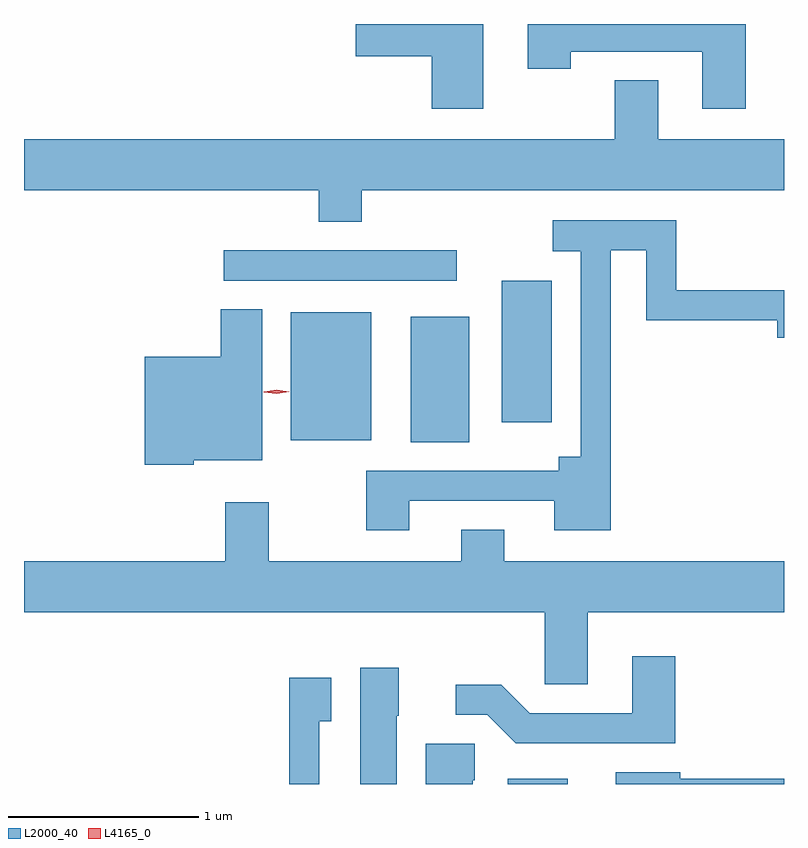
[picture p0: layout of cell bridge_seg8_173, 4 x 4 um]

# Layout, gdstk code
import gdstk
lib = gdstk.Library(unit=1e-6, precision=1e-09)
def R(c, l, rs):  # rectangles x0, y0, x1, y1
    for r in rs: c.add(gdstk.rectangle(r[:2], r[2:], *l))
def P(c, l, *ps):  # polygons
    for p in ps: c.add(gdstk.Polygon(p, *l))
L2000_40 = (2000, 40)
L4165_0 = (4165, 0)

bridge_seg8_173 = lib.new_cell('bridge_seg8_173')
R(bridge_seg8_173, L2000_40, [(1357.516,1935.411,1357.834,1935.439), (1357.006,1937.211,1357.314,1937.869), (1356.376,1937.221,1356.799,1937.894), (1357.486,1937.316,1357.749,1938.059), (1356.023,1938.061,1357.248,1938.219)])
P(bridge_seg8_173, L2000_40, [(1357.389,1939.411),(1356.716,1939.411),(1356.716,1939.241),(1357.116,1939.241),(1357.116,1938.966),(1357.389,1938.966)],
  [(1358.769,1939.411),(1357.621,1939.411),(1357.621,1939.176),(1357.849,1939.176),(1357.849,1939.266),(1358.541,1939.266),(1358.541,1938.966),(1358.769,1938.966)],
  [(1356.749,1938.536),(1358.971,1938.536),(1358.971,1938.804),(1358.309,1938.804),(1358.309,1939.114),(1358.081,1939.114),(1358.081,1938.804),(1354.971,1938.804),(1354.971,1938.536),(1356.521,1938.536),(1356.521,1938.371),(1356.749,1938.371)],
  [(1356.999,1936.901),(1357.761,1936.901),(1357.761,1936.746),(1358.059,1936.746),(1358.059,1938.221),(1358.246,1938.221),(1358.246,1937.851),(1358.936,1937.851),(1358.936,1937.761),(1358.971,1937.761),(1358.971,1938.009),(1358.404,1938.009),(1358.404,1938.379),(1357.753,1938.379),(1357.753,1938.216),(1357.901,1938.216),(1357.901,1937.134),(1357.786,1937.134),(1357.786,1937.059),(1356.771,1937.059),(1356.771,1936.746),(1356.999,1936.746)],
  [(1355.864,1937.116),(1356.224,1937.116),(1356.224,1937.909),(1356.006,1937.909),(1356.006,1937.659),(1355.606,1937.659),(1355.606,1937.091),(1355.864,1937.091)],
  [(1357.939,1936.316),(1358.971,1936.316),(1358.971,1936.584),(1357.499,1936.584),(1357.499,1936.749),(1357.271,1936.749),(1357.271,1936.584),(1356.259,1936.584),(1356.259,1936.894),(1356.031,1936.894),(1356.031,1936.584),(1354.971,1936.584),(1354.971,1936.316),(1357.711,1936.316),(1357.711,1935.936),(1357.939,1935.936)],
  [(1358.399,1936.084),(1358.171,1936.084),(1358.171,1935.784),(1357.632,1935.784),(1357.482,1935.934),(1357.243,1935.934),(1357.243,1935.776),(1357.409,1935.776),(1357.559,1935.626),(1358.399,1935.626)],
  [(1356.934,1935.77),(1356.944,1935.77),(1356.944,1936.024),(1356.741,1936.024),(1356.741,1935.411),(1356.934,1935.411)],
  [(1356.524,1935.741),(1356.589,1935.741),(1356.589,1935.969),(1356.366,1935.969),(1356.366,1935.411),(1356.524,1935.411)],
  [(1357.334,1935.43),(1357.344,1935.43),(1357.344,1935.624),(1357.086,1935.624),(1357.086,1935.411),(1357.334,1935.411)],
  [(1358.971,1935.439),(1358.424,1935.439),(1358.424,1935.474),(1358.086,1935.474),(1358.086,1935.411),(1358.971,1935.411)])
P(bridge_seg8_173, L4165_0, [(1356.3,1937.465),(1356.234,1937.474),(1356.234,1937.475),(1356.234,1937.475),(1356.3,1937.485),(1356.366,1937.476),(1356.366,1937.476),(1356.366,1937.475)])

lib.write_gds('bridge_seg8_173.gds')
